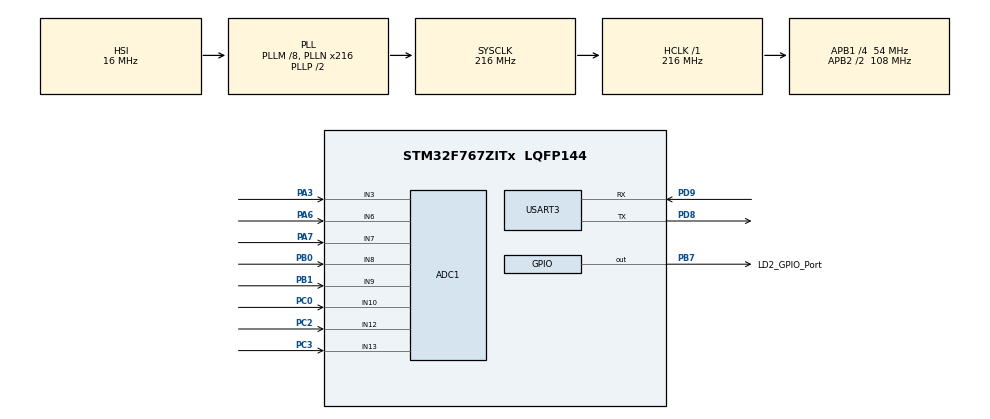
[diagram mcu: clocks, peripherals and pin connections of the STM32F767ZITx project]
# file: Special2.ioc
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ADC1.Channel-0\#ChannelRegularConversion=ADC_CHANNEL_3
ADC1.Channel-1\#ChannelRegularConversion=ADC_CHANNEL_6
ADC1.Channel-2\#ChannelRegularConversion=ADC_CHANNEL_7
ADC1.Channel-3\#ChannelRegularConversion=ADC_CHANNEL_8
ADC1.Channel-4\#ChannelRegularConversion=ADC_CHANNEL_9
ADC1.Channel-5\#ChannelRegularConversion=ADC_CHANNEL_10
ADC1.Channel-6\#ChannelRegularConversion=ADC_CHANNEL_12
ADC1.Channel-7\#ChannelRegularConversion=ADC_CHANNEL_13
ADC1.ContinuousConvMode=ENABLE
ADC1.DMAContinuousRequests=ENABLE
ADC1.NbrOfConversion=8
ADC1.NbrOfConversionFlag=1
ADC1.Rank-0\#ChannelRegularConversion=1
ADC1.Rank-1\#ChannelRegularConversion=2
ADC1.Rank-2\#ChannelRegularConversion=3
ADC1.Rank-3\#ChannelRegularConversion=4
ADC1.Rank-4\#ChannelRegularConversion=5
ADC1.Rank-5\#ChannelRegularConversion=6
ADC1.Rank-6\#ChannelRegularConversion=7
ADC1.Rank-7\#ChannelRegularConversion=8
ADC1.SamplingTime-0\#ChannelRegularConversion=ADC_SAMPLETIME_3CYCLES
ADC1.SamplingTime-1\#ChannelRegularConversion=ADC_SAMPLETIME_3CYCLES
ADC1.SamplingTime-2\#ChannelRegularConversion=ADC_SAMPLETIME_3CYCLES
ADC1.SamplingTime-3\#ChannelRegularConversion=ADC_SAMPLETIME_3CYCLES
ADC1.SamplingTime-4\#ChannelRegularConversion=ADC_SAMPLETIME_3CYCLES
ADC1.SamplingTime-5\#ChannelRegularConversion=ADC_SAMPLETIME_3CYCLES
ADC1.SamplingTime-6\#ChannelRegularConversion=ADC_SAMPLETIME_3CYCLES
ADC1.SamplingTime-7\#ChannelRegularConversion=ADC_SAMPLETIME_3CYCLES
ADC1.master=1
CORTEX_M7.default_mode_Activation=1
Dma.ADC1.0.Direction=DMA_PERIPH_TO_MEMORY
Dma.ADC1.0.FIFOMode=DMA_FIFOMODE_DISABLE
Dma.ADC1.0.Instance=DMA2_Stream0
Dma.ADC1.0.MemDataAlignment=DMA_MDATAALIGN_HALFWORD
Dma.ADC1.0.MemInc=DMA_MINC_ENABLE
Dma.ADC1.0.Mode=DMA_CIRCULAR
Dma.ADC1.0.PeriphDataAlignment=DMA_PDATAALIGN_HALFWORD
Dma.ADC1.0.PeriphInc=DMA_PINC_DISABLE
Dma.ADC1.0.Priority=DMA_PRIORITY_LOW
Dma.Request0=ADC1
Mcu.Family=STM32F7
Mcu.Name=STM32F767ZITx
Mcu.Package=LQFP144
NVIC.ADC_IRQn=true\:0\:0\:false\:false\:true\:true\:true\:true
NVIC.DMA2_Stream0_IRQn=true\:0\:0\:false\:false\:true\:false\:true\:true
NVIC.PriorityGroup=NVIC_PRIORITYGROUP_4
PA3.Signal=ADCx_IN3
PA6.Signal=ADCx_IN6
PA7.Signal=ADCx_IN7
PB0.Signal=ADCx_IN8
PB1.Signal=ADCx_IN9
PB7.GPIO_Label=LD2_GPIO_Port
PB7.Signal=GPIO_Output
PC0.Signal=ADCx_IN10
PC2.Signal=ADCx_IN12
PC3.Signal=ADCx_IN13
PD8.Mode=Asynchronous
PD8.Signal=USART3_TX
PD9.Mode=Asynchronous
PD9.Signal=USART3_RX
ProjectManager.HeapSize=0x200
ProjectManager.StackSize=0x400
ProjectManager.TargetToolchain=STM32CubeIDE
RCC.AHBFreq_Value=216000000
RCC.APB1CLKDivider=RCC_HCLK_DIV4
RCC.APB1Freq_Value=54000000
RCC.APB1TimFreq_Value=108000000
RCC.APB2CLKDivider=RCC_HCLK_DIV2
RCC.APB2Freq_Value=108000000
RCC.APB2TimFreq_Value=216000000
RCC.CortexFreq_Value=216000000
RCC.HCLKFreq_Value=216000000
RCC.HSE_VALUE=25000000
RCC.HSI_VALUE=16000000
RCC.LSE_VALUE=32768
RCC.PLLM=8
RCC.PLLN=216
RCC.SYSCLKFreq_VALUE=216000000
RCC.SYSCLKSource=RCC_SYSCLKSOURCE_PLLCLK
RCC.USBFreq_Value=216000000
RCC.VCOOutputFreq_Value=432000000
SH.ADCx_IN10.0=ADC1_IN10,IN10
SH.ADCx_IN12.0=ADC1_IN12,IN12
SH.ADCx_IN13.0=ADC1_IN13,IN13
SH.ADCx_IN3.0=ADC1_IN3,IN3
SH.ADCx_IN6.0=ADC1_IN6,IN6
SH.ADCx_IN7.0=ADC1_IN7,IN7
SH.ADCx_IN8.0=ADC1_IN8,IN8
SH.ADCx_IN9.0=ADC1_IN9,IN9
USART3.VirtualMode-Asynchronous=VM_ASYNC
board=custom

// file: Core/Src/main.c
/* USER CODE BEGIN Header */
/**
  ******************************************************************************
  * @file           : main.c
  * @brief          : Main program body (8 Channels Multichannel ADC with DMA)
  ******************************************************************************
  */
/* USER CODE END Header */
#include "main.h"

/* USER CODE BEGIN Includes */
#include <stdio.h>   // สำหรับ sprintf
#include <string.h>  // สำหรับ strlen
/* USER CODE END Includes */

ADC_HandleTypeDef hadc1;
DMA_HandleTypeDef hdma_adc1;

UART_HandleTypeDef huart3;

/* USER CODE BEGIN PV */
/* Private variables ---------------------------------------------------------*/
// *** กำหนดขนาด Buffer เป็น 8 ช่อง ***
#define ADC_CHANNELS 8
uint16_t adc_buffer[ADC_CHANNELS];
char msg_buffer[128]; // เพิ่มตัวแปรสำหรับส่งข้อความ UART
/* USER CODE END PV */

void SystemClock_Config(void);
static void MPU_Config(void);
static void MX_GPIO_Init(void);
static void MX_DMA_Init(void);
static void MX_ADC1_Init(void);
static void MX_USART3_UART_Init(void);

int main(void)
{

  /* MPU Configuration--------------------------------------------------------*/
  MPU_Config();

  /* MCU Configuration--------------------------------------------------------*/

  /* Reset of all peripherals, Initializes the Flash interface and the Systick. */
  HAL_Init();

  /* Configure the system clock */
  SystemClock_Config();

  /* Initialize all configured peripherals */
  MX_GPIO_Init();
  MX_DMA_Init();
  MX_ADC1_Init();
  MX_USART3_UART_Init();
  /* USER CODE BEGIN 2 */
  // เริ่ม ADC DMA (ส่งข้อมูล 8 ตัวแบบต่อเนื่อง)
  HAL_ADC_Start_DMA(&hadc1, (uint32_t*)adc_buffer, ADC_CHANNELS);
  /* USER CODE END 2 */

  /* Infinite loop */
  while (1)
  {

    /* USER CODE BEGIN 3 */
	  // แสดงผลค่า ADC ช่องที่ 1-4
	  sprintf(msg_buffer, "CH1-4: %4d, %4d, %4d, %4d | ",
			  adc_buffer[0], adc_buffer[1], adc_buffer[2], adc_buffer[3]);
	  HAL_UART_Transmit(&huart3, (uint8_t*)msg_buffer, strlen(msg_buffer), 100);

	  // แสดงผลค่า ADC ช่องที่ 5-8 ต่อท้าย
	  sprintf(msg_buffer, "CH5-8: %4d, %4d, %4d, %4d\r\n",
			  adc_buffer[4], adc_buffer[5], adc_buffer[6], adc_buffer[7]);
	  HAL_UART_Transmit(&huart3, (uint8_t*)msg_buffer, strlen(msg_buffer), 100);

	  HAL_Delay(500); // หน่วงเวลาเพื่อให้มนุษย์อ่านทัน
  }
  /* USER CODE END 3 */
}

void SystemClock_Config(void)
{
  RCC_OscInitTypeDef RCC_OscInitStruct = {0};
  RCC_ClkInitTypeDef RCC_ClkInitStruct = {0};

  /** Configure the main internal regulator output voltage
  */
  __HAL_RCC_PWR_CLK_ENABLE();
  __HAL_PWR_VOLTAGESCALING_CONFIG(PWR_REGULATOR_VOLTAGE_SCALE1);

  /** Initializes the RCC Oscillators according to the specified parameters
  * in the RCC_OscInitTypeDef structure.
  */
  RCC_OscInitStruct.OscillatorType = RCC_OSCILLATORTYPE_HSI;
  RCC_OscInitStruct.HSIState = RCC_HSI_ON;
  RCC_OscInitStruct.HSICalibrationValue = RCC_HSICALIBRATION_DEFAULT;
  RCC_OscInitStruct.PLL.PLLState = RCC_PLL_ON;
  RCC_OscInitStruct.PLL.PLLSource = RCC_PLLSOURCE_HSI;
  RCC_OscInitStruct.PLL.PLLM = 8;
  RCC_OscInitStruct.PLL.PLLN = 216;
  RCC_OscInitStruct.PLL.PLLP = RCC_PLLP_DIV2;
  RCC_OscInitStruct.PLL.PLLQ = 2;
  RCC_OscInitStruct.PLL.PLLR = 2;
  if (HAL_RCC_OscConfig(&RCC_OscInitStruct) != HAL_OK)
  {
    Error_Handler();
  }

  /** Activate the Over-Drive mode
  */
  if (HAL_PWREx_EnableOverDrive() != HAL_OK)
  {
    Error_Handler();
  }

  /** Initializes the CPU, AHB and APB buses clocks
  */
  RCC_ClkInitStruct.ClockType = RCC_CLOCKTYPE_HCLK|RCC_CLOCKTYPE_SYSCLK
                              |RCC_CLOCKTYPE_PCLK1|RCC_CLOCKTYPE_PCLK2;
  RCC_ClkInitStruct.SYSCLKSource = RCC_SYSCLKSOURCE_PLLCLK;
  RCC_ClkInitStruct.AHBCLKDivider = RCC_SYSCLK_DIV1;
  RCC_ClkInitStruct.APB1CLKDivider = RCC_HCLK_DIV4;
  RCC_ClkInitStruct.APB2CLKDivider = RCC_HCLK_DIV2;

  if (HAL_RCC_ClockConfig(&RCC_ClkInitStruct, FLASH_LATENCY_7) != HAL_OK)
  {
    Error_Handler();
  }
}

static void MX_ADC1_Init(void)
{

  ADC_ChannelConfTypeDef sConfig = {0};

  /** Configure the global features of the ADC (Clock, Resolution, Data Alignment and number of conversion)
  */
  hadc1.Instance = ADC1;
  hadc1.Init.ClockPrescaler = ADC_CLOCK_SYNC_PCLK_DIV4;
  hadc1.Init.Resolution = ADC_RESOLUTION_12B;
  hadc1.Init.ScanConvMode = ADC_SCAN_ENABLE;
  hadc1.Init.ContinuousConvMode = ENABLE;
  hadc1.Init.DiscontinuousConvMode = DISABLE;
  hadc1.Init.ExternalTrigConvEdge = ADC_EXTERNALTRIGCONVEDGE_NONE;
  hadc1.Init.ExternalTrigConv = ADC_SOFTWARE_START;
  hadc1.Init.DataAlign = ADC_DATAALIGN_RIGHT;
  hadc1.Init.NbrOfConversion = 8;
  hadc1.Init.DMAContinuousRequests = ENABLE;
  hadc1.Init.EOCSelection = ADC_EOC_SINGLE_CONV;
  if (HAL_ADC_Init(&hadc1) != HAL_OK)
  {
    Error_Handler();
  }

  /** Configure for the selected ADC regular channel its corresponding rank in the sequencer and its sample time.
  */
  sConfig.Channel = ADC_CHANNEL_3;
  sConfig.Rank = ADC_REGULAR_RANK_1;
  sConfig.SamplingTime = ADC_SAMPLETIME_3CYCLES;
  if (HAL_ADC_ConfigChannel(&hadc1, &sConfig) != HAL_OK)
  {
    Error_Handler();
  }

  /** Configure for the selected ADC regular channel its corresponding rank in the sequencer and its sample time.
  */
  sConfig.Channel = ADC_CHANNEL_6;
  sConfig.Rank = ADC_REGULAR_RANK_2;
  if (HAL_ADC_ConfigChannel(&hadc1, &sConfig) != HAL_OK)
  {
    Error_Handler();
  }

  /** Configure for the selected ADC regular channel its corresponding rank in the sequencer and its sample time.
  */
  sConfig.Channel = ADC_CHANNEL_7;
  sConfig.Rank = ADC_REGULAR_RANK_3;
  if (HAL_ADC_ConfigChannel(&hadc1, &sConfig) != HAL_OK)
  {
    Error_Handler();
  }

  /** Configure for the selected ADC regular channel its corresponding rank in the sequencer and its sample time.
  */
  sConfig.Channel = ADC_CHANNEL_8;
  sConfig.Rank = ADC_REGULAR_RANK_4;
  if (HAL_ADC_ConfigChannel(&hadc1, &sConfig) != HAL_OK)
  {
    Error_Handler();
  }

  /** Configure for the selected ADC regular channel its corresponding rank in the sequencer and its sample time.
  */
  sConfig.Channel = ADC_CHANNEL_9;
  sConfig.Rank = ADC_REGULAR_RANK_5;
  if (HAL_ADC_ConfigChannel(&hadc1, &sConfig) != HAL_OK)
  {
    Error_Handler();
  }

  /** Configure for the selected ADC regular channel its corresponding rank in the sequencer and its sample time.
  */
  sConfig.Channel = ADC_CHANNEL_10;
  sConfig.Rank = ADC_REGULAR_RANK_6;
  if (HAL_ADC_ConfigChannel(&hadc1, &sConfig) != HAL_OK)
  {
    Error_Handler();
  }

  /** Configure for the selected ADC regular channel its corresponding rank in the sequencer and its sample time.
  */
  sConfig.Channel = ADC_CHANNEL_12;
  sConfig.Rank = ADC_REGULAR_RANK_7;
  if (HAL_ADC_ConfigChannel(&hadc1, &sConfig) != HAL_OK)
  {
    Error_Handler();
  }

  /** Configure for the selected ADC regular channel its corresponding rank in the sequencer and its sample time.
  */
  sConfig.Channel = ADC_CHANNEL_13;
  sConfig.Rank = ADC_REGULAR_RANK_8;
  if (HAL_ADC_ConfigChannel(&hadc1, &sConfig) != HAL_OK)
  {
    Error_Handler();
  }

}

static void MX_USART3_UART_Init(void)
{

  huart3.Instance = USART3;
  huart3.Init.BaudRate = 115200;
  huart3.Init.WordLength = UART_WORDLENGTH_8B;
  huart3.Init.StopBits = UART_STOPBITS_1;
  huart3.Init.Parity = UART_PARITY_NONE;
  huart3.Init.Mode = UART_MODE_TX_RX;
  huart3.Init.HwFlowCtl = UART_HWCONTROL_NONE;
  huart3.Init.OverSampling = UART_OVERSAMPLING_16;
  huart3.Init.OneBitSampling = UART_ONE_BIT_SAMPLE_DISABLE;
  huart3.AdvancedInit.AdvFeatureInit = UART_ADVFEATURE_NO_INIT;
  if (HAL_UART_Init(&huart3) != HAL_OK)
  {
    Error_Handler();
  }

}

static void MX_DMA_Init(void)
{

  /* DMA controller clock enable */
  __HAL_RCC_DMA2_CLK_ENABLE();

  /* DMA interrupt init */
  /* DMA2_Stream0_IRQn interrupt configuration */
  HAL_NVIC_SetPriority(DMA2_Stream0_IRQn, 0, 0);
  HAL_NVIC_EnableIRQ(DMA2_Stream0_IRQn);

}

static void MX_GPIO_Init(void)
{
  GPIO_InitTypeDef GPIO_InitStruct = {0};

  /* GPIO Ports Clock Enable */
  __HAL_RCC_GPIOC_CLK_ENABLE();
  __HAL_RCC_GPIOA_CLK_ENABLE();
  __HAL_RCC_GPIOB_CLK_ENABLE();
  __HAL_RCC_GPIOD_CLK_ENABLE();

  /*Configure GPIO pin Output Level */
  HAL_GPIO_WritePin(LD2_GPIO_Port_GPIO_Port, LD2_GPIO_Port_Pin, GPIO_PIN_RESET);

  /*Configure GPIO pin : LD2_GPIO_Port_Pin */
  GPIO_InitStruct.Pin = LD2_GPIO_Port_Pin;
  GPIO_InitStruct.Mode = GPIO_MODE_OUTPUT_PP;
  GPIO_InitStruct.Pull = GPIO_NOPULL;
  GPIO_InitStruct.Speed = GPIO_SPEED_FREQ_LOW;
  HAL_GPIO_Init(LD2_GPIO_Port_GPIO_Port, &GPIO_InitStruct);

}

/* USER CODE BEGIN 4 */
// เมื่อ DMA โอนข้อมูลได้ครึ่งทาง (4 ช่องแรกเสร็จ) -> LD2 ติด
void HAL_ADC_ConvHalfCpltCallback(ADC_HandleTypeDef* hadc) {
    if (hadc->Instance == ADC1) {
    	HAL_GPIO_WritePin(LD2_GPIO_Port_GPIO_Port, LD2_GPIO_Port_Pin, GPIO_PIN_SET);
    }
}

// เมื่อ DMA โอนข้อมูลจนครบ (8 ช่องเสร็จ) -> LD2 ดับ
void HAL_ADC_ConvCpltCallback(ADC_HandleTypeDef* hadc) {
    if (hadc->Instance == ADC1) {
    	HAL_GPIO_WritePin(LD2_GPIO_Port_GPIO_Port, LD2_GPIO_Port_Pin, GPIO_PIN_RESET);
    }
}
/* USER CODE END 4 */

 /* MPU Configuration */

void MPU_Config(void)
{
  MPU_Region_InitTypeDef MPU_InitStruct = {0};

  /* Disables the MPU */
  HAL_MPU_Disable();

  /** Initializes and configures the Region and the memory to be protected
  */
  MPU_InitStruct.Enable = MPU_REGION_ENABLE;
  MPU_InitStruct.Number = MPU_REGION_NUMBER0;
  MPU_InitStruct.BaseAddress = 0x0;
  MPU_InitStruct.Size = MPU_REGION_SIZE_4GB;
  MPU_InitStruct.SubRegionDisable = 0x87;
  MPU_InitStruct.TypeExtField = MPU_TEX_LEVEL0;
  MPU_InitStruct.AccessPermission = MPU_REGION_NO_ACCESS;
  MPU_InitStruct.DisableExec = MPU_INSTRUCTION_ACCESS_DISABLE;
  MPU_InitStruct.IsShareable = MPU_ACCESS_SHAREABLE;
  MPU_InitStruct.IsCacheable = MPU_ACCESS_NOT_CACHEABLE;
  MPU_InitStruct.IsBufferable = MPU_ACCESS_NOT_BUFFERABLE;

  HAL_MPU_ConfigRegion(&MPU_InitStruct);
  /* Enables the MPU */
  HAL_MPU_Enable(MPU_PRIVILEGED_DEFAULT);

}

void Error_Handler(void)
{
  __disable_irq();
  while (1)
  {
  }
}
